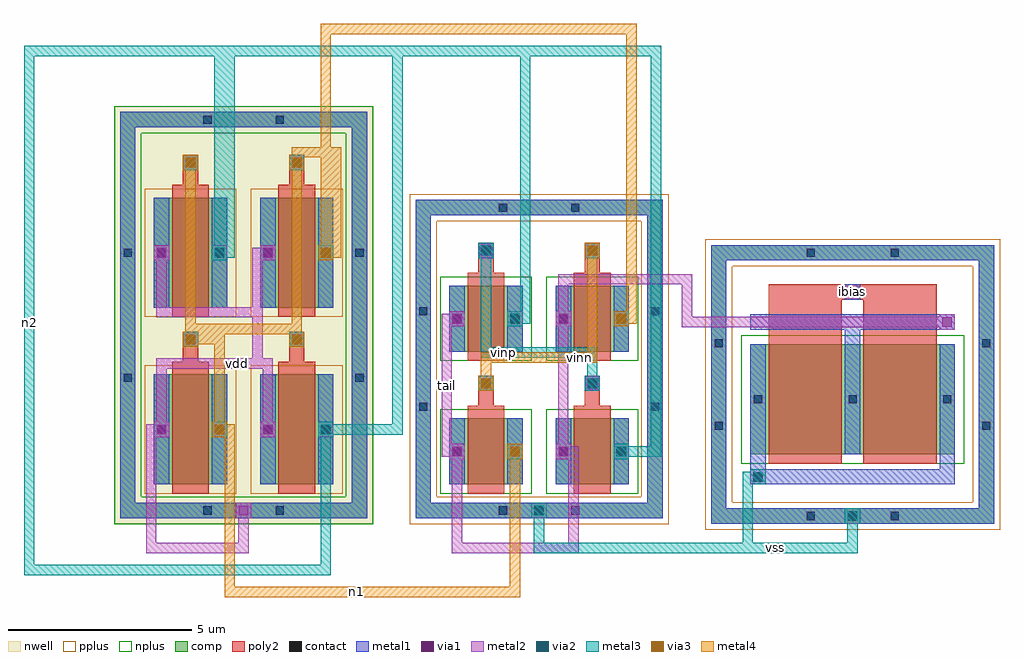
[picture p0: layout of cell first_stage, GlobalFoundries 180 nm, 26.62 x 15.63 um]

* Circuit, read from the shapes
.subckt first_stage ibias n1 n2 tail vdd vinn vinp vss
XM1 n1 vinn tail vss nfet_03v3 w=1.8u l=1u m=2
XM2 n2 vinp tail vss nfet_03v3 w=1.8u l=1u m=2
XM3 tail ibias vss vss nfet_03v3 w=3u l=2u m=2
XM4 n1 n1 vdd vdd pfet_03v3 w=3u l=1u m=2
XM5 n2 n1 vdd vdd pfet_03v3 w=3u l=1u m=2
.ends

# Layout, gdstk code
import gdstk
lib = gdstk.Library(unit=1e-6, precision=1e-09)
def R(c, l, rs):  # rectangles x0, y0, x1, y1
    for r in rs: c.add(gdstk.rectangle(r[:2], r[2:], *l))
def A(c, l, x, y, w, h, nx, ny, dx, dy):  # array of equal rectangles
    R(c, l, [(x+i*dx, y+j*dy, x+i*dx+w, y+j*dy+h) for i in range(nx) for j in range(ny)])
def P(c, l, *ps):  # polygons
    for p in ps: c.add(gdstk.Polygon(p, *l))
nwell = (21, 0)
comp = (22, 0)
poly2 = (30, 0)
pplus = (31, 0)
nplus = (32, 0)
contact = (33, 0)
metal1 = (34, 0)
via1 = (35, 0)
metal2 = (36, 0)
via2 = (38, 0)
via3 = (40, 0)
metal3 = (42, 0)
metal4 = (46, 0)

first_stage_load__core = lib.new_cell('first_stage_load__core')
R(first_stage_load__core, nwell, [(-1.07,-1.07,5.97,10.31), (-0.15,-0.15,5.05,9.39)])
R(first_stage_load__core, comp, [(0,0,2,3), (2.9,0,4.9,3), (0,4.82,2,7.82), (2.9,4.82,4.9,7.82)])
P(first_stage_load__core, comp, [(-0.92,-0.92),(-0.92,9.74),(-0.5,9.74),(-0.5,-0.5),(5.4,-0.5),(5.4,9.74),(-0.92,9.74),(-0.92,10.16),(5.82,10.16),(5.82,-0.92)])
R(first_stage_load__core, poly2, [(0.5,-0.25,1.5,3), (3.4,-0.25,4.4,3), (0.5,3,1.5,3.35), (3.4,3,4.4,3.35), (0.79,3.35,1.21,4.17), (3.69,3.35,4.11,4.17), (0.5,4.57,1.5,7.82), (3.4,4.57,4.4,7.82), (0.5,7.82,1.5,8.17), (3.4,7.82,4.4,8.17), (0.79,8.17,1.21,8.99), (3.69,8.17,4.11,8.99)])
R(first_stage_load__core, pplus, [(-0.25,-0.25,2.25,3.25), (2.65,-0.25,5.15,3.25), (-0.25,4.57,2.25,8.07), (2.65,4.57,5.15,8.07)])
P(first_stage_load__core, nplus, [(-1.08,-1.08),(-1.08,9.58),(-0.34,9.58),(-0.34,-0.34),(5.24,-0.34),(5.24,9.58),(-1.08,9.58),(-1.08,10.32),(5.98,10.32),(5.98,-1.08)])
R(first_stage_load__core, contact, [(1.355,-0.82,1.575,-0.6), (3.325,-0.82,3.545,-0.6), (0.1,1.39,0.32,1.61), (1.68,1.39,1.9,1.61), (3,1.39,3.22,1.61), (4.58,1.39,4.8,1.61), (-0.82,2.805,-0.6,3.025), (5.5,2.805,5.72,3.025), (0.89,3.85,1.11,4.07), (3.79,3.85,4.01,4.07), (0.1,6.21,0.32,6.43), (1.68,6.21,1.9,6.43), (3,6.21,3.22,6.43), (4.58,6.21,4.8,6.43), (-0.82,6.215,-0.6,6.435), (5.5,6.215,5.72,6.435), (0.89,8.67,1.11,8.89), (3.79,8.67,4.01,8.89), (1.355,9.84,1.575,10.06), (3.325,9.84,3.545,10.06)])
R(first_stage_load__core, metal1, [(0,0,0.42,3), (1.58,0,2,3), (2.9,0,3.32,3), (4.48,0,4.9,3), (0.79,3.75,1.21,4.17), (3.69,3.75,4.11,4.17), (0,4.82,0.42,7.82), (1.58,4.82,2,7.82), (2.9,4.82,3.32,7.82), (4.48,4.82,4.9,7.82), (0.79,8.57,1.21,8.99), (3.69,8.57,4.11,8.99)])
P(first_stage_load__core, metal1, [(-0.92,-0.92),(-0.92,9.74),(-0.5,9.74),(-0.5,-0.5),(5.4,-0.5),(5.4,9.74),(-0.92,9.74),(-0.92,10.16),(5.82,10.16),(5.82,-0.92)])

load__first_stage_load = lib.new_cell('load__first_stage_load')
load__first_stage_load.add(gdstk.Reference(first_stage_load__core, (0,0)))

first_stage_in__core = lib.new_cell('first_stage_in__core')
R(first_stage_in__core, comp, [(0,0,2,1.8), (2.9,0,4.9,1.8), (0,3.62,2,5.42), (2.9,3.62,4.9,5.42)])
P(first_stage_in__core, comp, [(-0.92,-0.92),(-0.92,7.34),(-0.5,7.34),(-0.5,-0.5),(5.4,-0.5),(5.4,7.34),(-0.92,7.34),(-0.92,7.76),(5.82,7.76),(5.82,-0.92)])
R(first_stage_in__core, poly2, [(0.5,-0.25,1.5,1.8), (3.4,-0.25,4.4,1.8), (0.5,1.8,1.5,2.15), (3.4,1.8,4.4,2.15), (0.79,2.15,1.21,2.97), (3.69,2.15,4.11,2.97), (0.5,3.37,1.5,5.42), (3.4,3.37,4.4,5.42), (0.5,5.42,1.5,5.77), (3.4,5.42,4.4,5.77), (0.79,5.77,1.21,6.59), (3.69,5.77,4.11,6.59)])
P(first_stage_in__core, pplus, [(-1.08,-1.08),(-1.08,7.18),(-0.34,7.18),(-0.34,-0.34),(5.24,-0.34),(5.24,7.18),(-1.08,7.18),(-1.08,7.92),(5.98,7.92),(5.98,-1.08)])
R(first_stage_in__core, nplus, [(-0.25,-0.25,2.25,2.05), (2.65,-0.25,5.15,2.05), (-0.25,3.37,2.25,5.67), (2.65,3.37,5.15,5.67)])
R(first_stage_in__core, contact, [(1.355,-0.82,1.575,-0.6), (3.325,-0.82,3.545,-0.6), (0.1,0.79,0.32,1.01), (1.68,0.79,1.9,1.01), (3,0.79,3.22,1.01), (4.58,0.79,4.8,1.01), (-0.82,2.005,-0.6,2.225), (5.5,2.005,5.72,2.225), (0.89,2.65,1.11,2.87), (3.79,2.65,4.01,2.87), (0.1,4.41,0.32,4.63), (1.68,4.41,1.9,4.63), (3,4.41,3.22,4.63), (4.58,4.41,4.8,4.63), (-0.82,4.615,-0.6,4.835), (5.5,4.615,5.72,4.835), (0.89,6.27,1.11,6.49), (3.79,6.27,4.01,6.49), (1.355,7.44,1.575,7.66), (3.325,7.44,3.545,7.66)])
R(first_stage_in__core, metal1, [(0,0,0.42,1.8), (1.58,0,2,1.8), (2.9,0,3.32,1.8), (4.48,0,4.9,1.8), (0.79,2.55,1.21,2.97), (3.69,2.55,4.11,2.97), (0,3.62,0.42,5.42), (1.58,3.62,2,5.42), (2.9,3.62,3.32,5.42), (4.48,3.62,4.9,5.42), (0.79,6.17,1.21,6.59), (3.69,6.17,4.11,6.59)])
P(first_stage_in__core, metal1, [(-0.92,-0.92),(-0.92,7.34),(-0.5,7.34),(-0.5,-0.5),(5.4,-0.5),(5.4,7.34),(-0.92,7.34),(-0.92,7.76),(5.82,7.76),(5.82,-0.92)])

in__first_stage_in = lib.new_cell('in__first_stage_in')
in__first_stage_in.add(gdstk.Reference(first_stage_in__core, (0,0)))

first_stage_tail__core = lib.new_cell('first_stage_tail__core')
R(first_stage_tail__core, comp, [(0,0.82,5.58,3.82)])
P(first_stage_tail__core, comp, [(-1.07,-1.07),(-1.07,6.11),(-0.65,6.11),(-0.65,-0.65),(6.23,-0.65),(6.23,6.11),(-1.07,6.11),(-1.07,6.53),(6.65,6.53),(6.65,-1.07)])
R(first_stage_tail__core, poly2, [(0.5,0.57,2.5,5.04), (3.08,0.57,5.08,5.04), (0.5,5.04,5.08,5.46)])
P(first_stage_tail__core, pplus, [(-1.23,-1.23),(-1.23,5.95),(-0.49,5.95),(-0.49,-0.49),(6.07,-0.49),(6.07,5.95),(-1.23,5.95),(-1.23,6.69),(6.81,6.69),(6.81,-1.23)])
R(first_stage_tail__core, nplus, [(-0.25,0.57,5.83,4.07)])
A(first_stage_tail__core, contact, 0.1, 2.21, 0.22, 0.22, 3, 1, 2.58, 0)
R(first_stage_tail__core, contact, [(1.535,-0.97,1.755,-0.75), (3.825,-0.97,4.045,-0.75), (-0.97,1.495,-0.75,1.715), (6.33,1.495,6.55,1.715), (-0.97,3.745,-0.75,3.965), (6.33,3.745,6.55,3.965), (2.68,5.14,2.9,5.36), (1.535,6.21,1.755,6.43), (3.825,6.21,4.045,6.43)])
A(first_stage_tail__core, metal1, 0, 0.82, 0.42, 3, 3, 1, 2.58, 0)
R(first_stage_tail__core, metal1, [(0,0,5.58,0.42), (0,0.42,0.42,0.82), (5.16,0.42,5.58,0.82), (2.58,3.82,3,4.22), (0,4.22,5.58,4.64), (2.58,5.04,3,5.46)])
P(first_stage_tail__core, metal1, [(-1.07,-1.07),(-1.07,6.11),(-0.65,6.11),(-0.65,-0.65),(6.23,-0.65),(6.23,6.11),(-1.07,6.11),(-1.07,6.53),(6.65,6.53),(6.65,-1.07)])

tail__first_stage_tail = lib.new_cell('tail__first_stage_tail')
tail__first_stage_tail.add(gdstk.Reference(first_stage_tail__core, (0,0)))

first_stage = lib.new_cell('first_stage')
R(first_stage, metal1, [(18.85,-1.07,19.27,-0.65), (18.85,-1.07,19.27,-0.65), (2.24,-0.92,2.66,-0.5), (10.3,-0.92,10.72,-0.5), (16.27,0,16.69,0.42), (8.06,0.69,8.48,1.11), (8.06,0.69,8.48,1.11), (9.64,0.69,10.06,1.11), (10.96,0.69,11.38,1.11), (10.96,0.69,11.38,1.11), (12.54,0.69,12.96,1.11), (0,1.29,0.42,1.71), (0,1.29,0.42,1.71), (1.58,1.29,2,1.71), (1.58,1.29,2,1.71), (2.9,1.29,3.32,1.71), (4.48,1.29,4.9,1.71), (4.48,1.29,4.9,1.71), (8.85,2.55,9.27,2.97), (11.75,2.55,12.17,2.97), (0.79,3.75,1.21,4.17), (0.79,3.75,1.21,4.17), (0.79,3.75,1.21,4.17), (3.69,3.75,4.11,4.17), (3.69,3.75,4.11,4.17), (21.43,4.22,21.85,4.64), (8.06,4.31,8.48,4.73), (9.64,4.31,10.06,4.73), (10.96,4.31,11.38,4.73), (10.96,4.31,11.38,4.73), (12.54,4.31,12.96,4.73), (0,6.11,0.42,6.53), (1.58,6.11,2,6.53), (1.58,6.11,2,6.53), (2.9,6.11,3.32,6.53), (2.9,6.11,3.32,6.53), (2.9,6.11,3.32,6.53), (4.48,6.11,4.9,6.53), (4.48,6.11,4.9,6.53), (8.85,6.17,9.27,6.59), (11.75,6.17,12.17,6.59), (0.79,8.57,1.21,8.99), (3.69,8.57,4.11,8.99), (3.69,8.57,4.11,8.99)])
R(first_stage, via1, [(18.93,-0.99,19.19,-0.73), (18.93,-0.99,19.19,-0.73), (2.32,-0.84,2.58,-0.58), (10.38,-0.84,10.64,-0.58), (16.35,0.08,16.61,0.34), (8.14,0.77,8.4,1.03), (8.14,0.77,8.4,1.03), (9.72,0.77,9.98,1.03), (11.04,0.77,11.3,1.03), (11.04,0.77,11.3,1.03), (12.62,0.77,12.88,1.03), (0.08,1.37,0.34,1.63), (0.08,1.37,0.34,1.63), (1.66,1.37,1.92,1.63), (1.66,1.37,1.92,1.63), (2.98,1.37,3.24,1.63), (4.56,1.37,4.82,1.63), (4.56,1.37,4.82,1.63), (8.93,2.63,9.19,2.89), (11.83,2.63,12.09,2.89), (0.87,3.83,1.13,4.09), (0.87,3.83,1.13,4.09), (0.87,3.83,1.13,4.09), (3.77,3.83,4.03,4.09), (3.77,3.83,4.03,4.09), (21.51,4.3,21.77,4.56), (8.14,4.39,8.4,4.65), (9.72,4.39,9.98,4.65), (11.04,4.39,11.3,4.65), (11.04,4.39,11.3,4.65), (12.62,4.39,12.88,4.65), (0.08,6.19,0.34,6.45), (1.66,6.19,1.92,6.45), (1.66,6.19,1.92,6.45), (2.98,6.19,3.24,6.45), (2.98,6.19,3.24,6.45), (2.98,6.19,3.24,6.45), (4.56,6.19,4.82,6.45), (4.56,6.19,4.82,6.45), (8.93,6.25,9.19,6.51), (11.83,6.25,12.09,6.51), (0.87,8.65,1.13,8.91), (3.77,8.65,4.03,8.91), (3.77,8.65,4.03,8.91)])
R(first_stage, metal2, [(18.85,-1.07,19.27,-0.65), (18.85,-1.07,19.27,-0.65), (18.85,-1.07,19.27,-0.65), (18.85,-1.07,19.27,-0.65), (2.24,-0.92,2.66,-0.5), (10.3,-0.92,10.72,-0.5), (10.3,-0.92,10.72,-0.5), (16.27,0,16.69,0.42), (16.27,0,16.69,0.42), (8.06,0.69,8.48,1.11), (8.06,0.69,8.48,1.11), (9.64,0.69,10.06,1.11), (9.64,0.69,10.06,1.11), (10.96,0.69,11.38,1.11), (10.96,0.69,11.38,1.11), (12.54,0.69,12.96,1.11), (12.54,0.69,12.96,1.11), (0,1.29,0.42,1.71), (0,1.29,0.42,1.71), (1.58,1.29,2,1.71), (1.58,1.29,2,1.71), (1.58,1.29,2,1.71), (1.58,1.29,2,1.71), (2.9,1.29,3.32,1.71), (4.48,1.29,4.9,1.71), (4.48,1.29,4.9,1.71), (4.48,1.29,4.9,1.71), (4.48,1.29,4.9,1.71), (8.85,2.55,9.27,2.97), (8.85,2.55,9.27,2.97), (11.75,2.55,12.17,2.97), (11.75,2.55,12.17,2.97), (0.79,3.75,1.21,4.17), (0.79,3.75,1.21,4.17), (0.79,3.75,1.21,4.17), (0.79,3.75,1.21,4.17), (0.79,3.75,1.21,4.17), (0.79,3.75,1.21,4.17), (3.69,3.75,4.11,4.17), (3.69,3.75,4.11,4.17), (3.69,3.75,4.11,4.17), (3.69,3.75,4.11,4.17), (21.43,4.22,21.85,4.64), (8.06,4.31,8.48,4.73), (9.64,4.31,10.06,4.73), (9.64,4.31,10.06,4.73), (10.96,4.31,11.38,4.73), (10.96,4.31,11.38,4.73), (12.54,4.31,12.96,4.73), (12.54,4.31,12.96,4.73), (0,6.11,0.42,6.53), (1.58,6.11,2,6.53), (1.58,6.11,2,6.53), (1.58,6.11,2,6.53), (1.58,6.11,2,6.53), (2.9,6.11,3.32,6.53), (2.9,6.11,3.32,6.53), (2.9,6.11,3.32,6.53), (4.48,6.11,4.9,6.53), (4.48,6.11,4.9,6.53), (4.48,6.11,4.9,6.53), (4.48,6.11,4.9,6.53), (8.85,6.17,9.27,6.59), (8.85,6.17,9.27,6.59), (11.75,6.17,12.17,6.59), (11.75,6.17,12.17,6.59), (0.79,8.57,1.21,8.99), (0.79,8.57,1.21,8.99), (3.69,8.57,4.11,8.99), (3.69,8.57,4.11,8.99), (3.69,8.57,4.11,8.99), (3.69,8.57,4.11,8.99)])
R(first_stage, via2, [(18.93,-0.99,19.19,-0.73), (18.93,-0.99,19.19,-0.73), (10.38,-0.84,10.64,-0.58), (16.35,0.08,16.61,0.34), (9.72,0.77,9.98,1.03), (12.62,0.77,12.88,1.03), (1.66,1.37,1.92,1.63), (1.66,1.37,1.92,1.63), (4.56,1.37,4.82,1.63), (4.56,1.37,4.82,1.63), (8.93,2.63,9.19,2.89), (11.83,2.63,12.09,2.89), (0.87,3.83,1.13,4.09), (0.87,3.83,1.13,4.09), (0.87,3.83,1.13,4.09), (3.77,3.83,4.03,4.09), (3.77,3.83,4.03,4.09), (9.72,4.39,9.98,4.65), (12.62,4.39,12.88,4.65), (1.66,6.19,1.92,6.45), (1.66,6.19,1.92,6.45), (4.56,6.19,4.82,6.45), (4.56,6.19,4.82,6.45), (8.93,6.25,9.19,6.51), (11.83,6.25,12.09,6.51), (0.87,8.65,1.13,8.91), (3.77,8.65,4.03,8.91), (3.77,8.65,4.03,8.91)])
R(first_stage, via3, [(9.72,0.77,9.98,1.03), (1.66,1.37,1.92,1.63), (1.66,1.37,1.92,1.63), (8.93,2.63,9.19,2.89), (0.87,3.83,1.13,4.09), (0.87,3.83,1.13,4.09), (0.87,3.83,1.13,4.09), (3.77,3.83,4.03,4.09), (3.77,3.83,4.03,4.09), (12.62,4.39,12.88,4.65), (4.56,6.19,4.82,6.45), (4.56,6.19,4.82,6.45), (11.83,6.25,12.09,6.51), (0.87,8.65,1.13,8.91), (3.77,8.65,4.03,8.91), (3.77,8.65,4.03,8.91)])
R(first_stage, metal3, [(18.85,-1.07,19.27,-0.65), (18.85,-1.07,19.27,-0.65), (10.3,-0.92,10.72,-0.5), (16.27,0,16.69,0.42), (9.64,0.69,10.06,1.11), (9.64,0.69,10.06,1.11), (12.54,0.69,12.96,1.11), (1.58,1.29,2,1.71), (1.58,1.29,2,1.71), (1.58,1.29,2,1.71), (1.58,1.29,2,1.71), (4.48,1.29,4.9,1.71), (4.48,1.29,4.9,1.71), (8.85,2.55,9.27,2.97), (8.85,2.55,9.27,2.97), (11.75,2.55,12.17,2.97), (0.79,3.75,1.21,4.17), (0.79,3.75,1.21,4.17), (0.79,3.75,1.21,4.17), (0.79,3.75,1.21,4.17), (0.79,3.75,1.21,4.17), (0.79,3.75,1.21,4.17), (3.69,3.75,4.11,4.17), (3.69,3.75,4.11,4.17), (3.69,3.75,4.11,4.17), (3.69,3.75,4.11,4.17), (9.64,4.31,10.06,4.73), (12.54,4.31,12.96,4.73), (12.54,4.31,12.96,4.73), (1.58,6.11,2,6.53), (1.58,6.11,2,6.53), (4.48,6.11,4.9,6.53), (4.48,6.11,4.9,6.53), (4.48,6.11,4.9,6.53), (4.48,6.11,4.9,6.53), (8.85,6.17,9.27,6.59), (11.75,6.17,12.17,6.59), (11.75,6.17,12.17,6.59), (0.79,8.57,1.21,8.99), (0.79,8.57,1.21,8.99), (3.69,8.57,4.11,8.99), (3.69,8.57,4.11,8.99), (3.69,8.57,4.11,8.99), (3.69,8.57,4.11,8.99)])
R(first_stage, metal4, [(9.64,0.69,10.06,1.11), (1.58,1.29,2,1.71), (1.58,1.29,2,1.71), (8.85,2.55,9.27,2.97), (0.79,3.75,1.21,4.17), (0.79,3.75,1.21,4.17), (0.79,3.75,1.21,4.17), (3.69,3.75,4.11,4.17), (3.69,3.75,4.11,4.17), (12.54,4.31,12.96,4.73), (4.48,6.11,4.9,6.53), (4.48,6.11,4.9,6.53), (11.75,6.17,12.17,6.59), (0.79,8.57,1.21,8.99), (3.69,8.57,4.11,8.99), (3.69,8.57,4.11,8.99)])
first_stage.add(gdstk.FlexPath([(0.21,1.5),(0.21,3.3),(2.83,3.3),(2.83,6.32),(3.11,6.32)], 0.28, ends="flush", simple_path=True, layer=36, datatype=0))  # metal2
first_stage.add(gdstk.FlexPath([(3.11,1.5),(3.11,3.3),(2.83,3.3),(2.83,6.32),(3.11,6.32)], 0.28, ends="flush", simple_path=True, layer=36, datatype=0))  # metal2
first_stage.add(gdstk.FlexPath([(0.21,6.32),(0.21,4.7),(2.83,4.7),(2.83,6.32),(3.11,6.32)], 0.28, ends="flush", simple_path=True, layer=36, datatype=0))  # metal2
first_stage.add(gdstk.FlexPath([(0.21,1.5),(-0.07,1.5),(-0.07,-1.73),(2.45,-1.73),(2.45,-0.71)], 0.28, ends="flush", simple_path=True, layer=36, datatype=0))  # metal2
first_stage.add(gdstk.FlexPath([(8.27,4.52),(7.99,4.52),(7.99,0.9),(8.27,0.9)], 0.28, ends="flush", simple_path=True, layer=36, datatype=0))  # metal2
first_stage.add(gdstk.FlexPath([(8.27,0.9),(8.27,-1.73),(11.45,-1.73),(11.45,0.9),(11.17,0.9)], 0.28, ends="flush", simple_path=True, layer=36, datatype=0))  # metal2
first_stage.add(gdstk.FlexPath([(11.17,0.9),(11.17,4.52),(11.17,4.52)], 0.28, ends="flush", simple_path=True, layer=36, datatype=0))  # metal2
first_stage.add(gdstk.FlexPath([(11.17,4.52),(11.17,5.6),(14.54,5.6),(14.54,4.43),(21.64,4.43)], 0.28, ends="flush", simple_path=True, layer=36, datatype=0))  # metal2
first_stage.add(gdstk.FlexPath([(16.48,0.21),(16.2,0.21),(16.2,-1.73),(19.06,-1.73),(19.06,-0.86)], 0.28, ends="flush", simple_path=True, layer=42, datatype=0))  # metal3
first_stage.add(gdstk.FlexPath([(19.06,-0.86),(19.06,-1.73),(10.51,-1.73),(10.51,-0.71)], 0.28, ends="flush", simple_path=True, layer=42, datatype=0))  # metal3
first_stage.add(gdstk.FlexPath([(11.96,2.76),(11.96,3.6),(9.06,3.6),(9.06,6.38)], 0.28, ends="flush", simple_path=True, layer=42, datatype=0))  # metal3
first_stage.add(gdstk.FlexPath([(4.69,1.5),(4.69,-2.33),(-3.4,-2.33),(-3.4,11.82),(2.07,11.82),(2.07,6.32),(1.79,6.32)], 0.28, ends="flush", simple_path=True, layer=42, datatype=0))  # metal3
first_stage.add(gdstk.FlexPath([(1.79,6.32),(1.79,11.82),(10.13,11.82),(10.13,4.52),(9.85,4.52)], 0.28, ends="flush", simple_path=True, layer=42, datatype=0))  # metal3
first_stage.add(gdstk.FlexPath([(4.69,1.5),(6.65,1.5),(6.65,11.82),(13.7,11.82),(13.7,0.9),(12.75,0.9)], 0.28, ends="flush", simple_path=True, layer=42, datatype=0))  # metal3
first_stage.add(gdstk.FlexPath([(9.06,2.76),(9.06,3.46),(11.96,3.46),(11.96,6.38)], 0.28, ends="flush", simple_path=True, layer=46, datatype=0))  # metal4
first_stage.add(gdstk.FlexPath([(9.85,0.9),(9.85,-2.93),(2.07,-2.93),(2.07,1.5),(1.79,1.5)], 0.28, ends="flush", simple_path=True, layer=46, datatype=0))  # metal4
first_stage.add(gdstk.FlexPath([(1.79,1.5),(1.79,3.96),(1,3.96),(1,3.96)], 0.28, ends="flush", simple_path=True, layer=46, datatype=0))  # metal4
first_stage.add(gdstk.FlexPath([(1,3.96),(1,4.24),(3.9,4.24),(3.9,3.96)], 0.28, ends="flush", simple_path=True, layer=46, datatype=0))  # metal4
first_stage.add(gdstk.FlexPath([(1,3.96),(1,8.78)], 0.28, ends="flush", simple_path=True, layer=46, datatype=0))  # metal4
first_stage.add(gdstk.FlexPath([(3.9,3.96),(3.9,8.78)], 0.28, ends="flush", simple_path=True, layer=46, datatype=0))  # metal4
first_stage.add(gdstk.FlexPath([(3.9,8.78),(3.9,9.06),(4.97,9.06),(4.97,6.32),(4.69,6.32)], 0.28, ends="flush", simple_path=True, layer=46, datatype=0))  # metal4
first_stage.add(gdstk.FlexPath([(4.69,6.32),(4.69,12.42),(13.03,12.42),(13.03,4.52),(12.75,4.52)], 0.28, ends="flush", simple_path=True, layer=46, datatype=0))  # metal4
first_stage.add(gdstk.Reference(load__first_stage_load, (0,0)))
first_stage.add(gdstk.Reference(in__first_stage_in, (8.06,0)))
first_stage.add(gdstk.Reference(tail__first_stage_tail, (16.27,0)))
first_stage.add(gdstk.Label('vdd', (2.27,3.3), layer=36, texttype=10))
first_stage.add(gdstk.Label('tail', (7.99,2.71), layer=36, texttype=10))
first_stage.add(gdstk.Label('vss', (16.955,-1.73), layer=42, texttype=10))
first_stage.add(gdstk.Label('vinp', (9.54,3.6), layer=42, texttype=10))
first_stage.add(gdstk.Label('n2', (-3.4,4.41), layer=42, texttype=10))
first_stage.add(gdstk.Label('vinn', (11.62,3.46), layer=46, texttype=10))
first_stage.add(gdstk.Label('n1', (5.52,-2.93), layer=46, texttype=10))
first_stage.add(gdstk.Label('ibias', (19.06,5.25), layer=34, texttype=10))

lib.write_gds('first_stage.gds')
